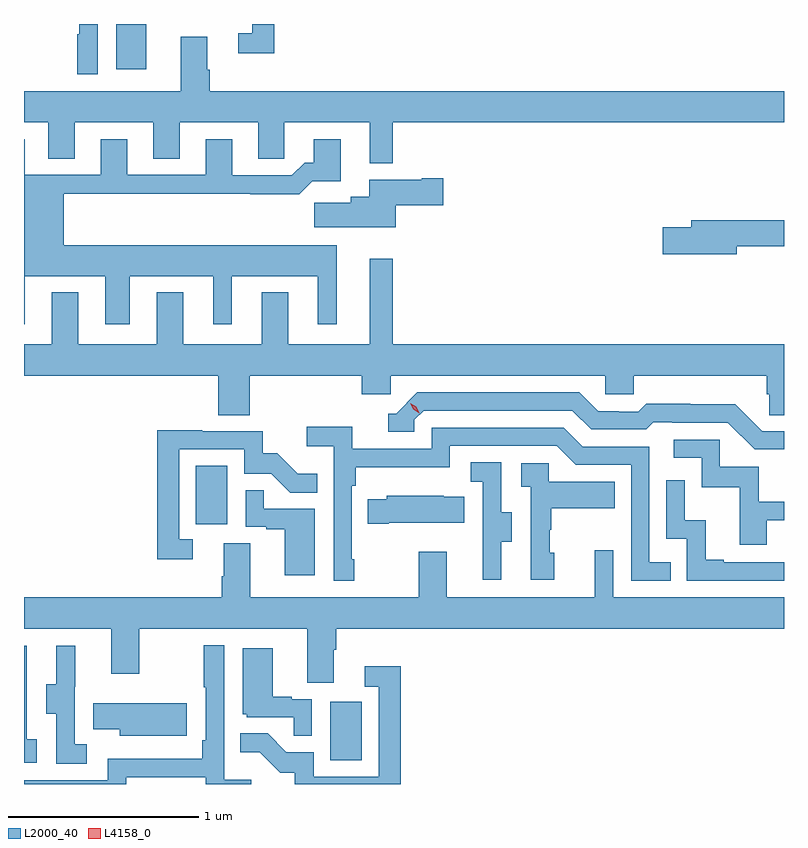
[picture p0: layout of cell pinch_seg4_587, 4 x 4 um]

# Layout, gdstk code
import gdstk
lib = gdstk.Library(unit=1e-6, precision=1e-09)
def R(c, l, rs):  # rectangles x0, y0, x1, y1
    for r in rs: c.add(gdstk.rectangle(r[:2], r[2:], *l))
def P(c, l, *ps):  # polygons
    for p in ps: c.add(gdstk.Polygon(p, *l))
L2000_40 = (2000, 40)
L4158_0 = (4158, 0)

pinch_seg4_587 = lib.new_cell('pinch_seg4_587')
R(pinch_seg4_587, L2000_40, [(1046.702,770.82,1046.866,771.127), (1045.994,772.062,1046.158,772.369), (1045.574,774.456,1045.732,774.694)])
P(pinch_seg4_587, L2000_40, [(1045.476,774.694),(1045.379,774.694),(1045.379,774.641),(1045.368,774.641),(1045.368,774.429),(1045.476,774.429)],
  [(1046.405,774.694),(1046.289,774.694),(1046.289,774.645),(1046.217,774.645),(1046.217,774.54),(1046.405,774.54)],
  [(1047.031,774.176),(1049.089,774.176),(1049.089,774.34),(1046.066,774.34),(1046.066,774.452),(1046.053,774.452),(1046.053,774.626),(1045.913,774.626),(1045.913,774.34),(1045.089,774.34),(1045.089,774.176),(1045.217,774.176),(1045.217,773.986),(1045.357,773.986),(1045.357,774.176),(1045.769,774.176),(1045.769,773.986),(1045.909,773.986),(1045.909,774.176),(1046.321,774.176),(1046.321,773.986),(1046.46,773.986),(1046.46,774.176),(1046.909,774.176),(1046.909,773.96),(1047.031,773.96)],
  [(1045.093,773.366),(1045.517,773.366),(1045.517,773.115),(1045.645,773.115),(1045.645,773.366),(1046.084,773.366),(1046.084,773.115),(1046.182,773.115),(1046.182,773.366),(1046.636,773.366),(1046.636,773.115),(1046.734,773.115),(1046.734,773.53),(1045.297,773.53),(1045.297,773.8),(1046.281,773.8),(1046.281,773.798),(1046.537,773.798),(1046.606,773.867),(1046.755,773.867),(1046.755,774.088),(1046.615,774.088),(1046.615,773.965),(1046.566,773.965),(1046.499,773.898),(1046.185,773.898),(1046.185,774.088),(1046.045,774.088),(1046.045,773.901),(1045.633,773.901),(1045.633,774.088),(1045.493,774.088),(1045.493,773.901),(1045.093,773.901),(1045.093,774.088),(1045.089,774.088),(1045.089,773.115),(1045.093,773.115)],
  [(1047.046,773.741),(1047.295,773.741),(1047.295,773.883),(1047.182,773.883),(1047.182,773.875),(1046.906,773.875),(1046.906,773.785),(1046.81,773.785),(1046.81,773.753),(1046.616,773.753),(1046.616,773.624),(1047.046,773.624)],
  [(1048.84,773.524),(1049.089,773.524),(1049.089,773.66),(1048.601,773.66),(1048.601,773.624),(1048.452,773.624),(1048.452,773.482),(1048.84,773.482)],
  [(1046.276,772.844),(1046.867,772.844),(1046.867,772.746),(1047.018,772.746),(1047.018,772.844),(1048.149,772.844),(1048.149,772.746),(1048.299,772.746),(1048.299,772.844),(1048.997,772.844),(1048.997,772.746),(1049.011,772.746),(1049.011,772.636),(1049.089,772.636),(1049.089,773.008),(1047.031,773.008),(1047.031,773.458),(1046.909,773.458),(1046.909,773.008),(1046.479,773.008),(1046.479,773.281),(1046.339,773.281),(1046.339,773.008),(1045.927,773.008),(1045.927,773.281),(1045.787,773.281),(1045.787,773.008),(1045.375,773.008),(1045.375,773.281),(1045.235,773.281),(1045.235,773.008),(1045.089,773.008),(1045.089,772.844),(1046.111,772.844),(1046.111,772.636),(1046.276,772.636)],
  [(1049.089,772.551),(1048.974,772.551),(1048.832,772.693),(1048.596,772.693),(1048.596,772.696),(1048.363,772.696),(1048.321,772.653),(1048.218,772.653),(1048.218,772.656),(1048.111,772.656),(1048.012,772.755),(1047.159,772.755),(1047.048,772.644),(1047.005,772.644),(1047.005,772.548),(1047.144,772.548),(1047.144,772.611),(1047.192,772.659),(1047.975,772.659),(1048.074,772.56),(1048.363,772.56),(1048.402,772.599),(1048.501,772.599),(1048.501,772.596),(1048.794,772.596),(1048.935,772.455),(1049.089,772.455)],
  [(1046.827,771.877),(1046.814,771.877),(1046.814,772.265),(1046.834,772.265),(1046.834,772.361),(1047.33,772.361),(1047.33,772.473),(1047.894,772.473),(1047.993,772.374),(1048.284,772.374),(1048.284,771.765),(1048.493,771.765),(1048.493,771.861),(1048.38,771.861),(1048.38,772.47),(1048.03,772.47),(1047.931,772.569),(1047.234,772.569),(1047.234,772.458),(1046.816,772.458),(1046.816,772.574),(1046.577,772.574),(1046.577,772.472),(1046.718,772.472),(1046.718,771.765),(1046.827,771.765)],
  [(1045.978,771.981),(1045.905,771.981),(1045.905,772.455),(1046.247,772.455),(1046.247,772.326),(1046.391,772.326),(1046.489,772.228),(1046.633,772.228),(1046.633,772.327),(1046.529,772.327),(1046.422,772.434),(1046.346,772.434),(1046.346,772.551),(1046.027,772.551),(1046.027,772.556),(1045.789,772.556),(1045.789,771.876),(1045.978,771.876)],
  [(1048.999,772.083),(1049.089,772.083),(1049.089,772.179),(1048.957,772.179),(1048.957,772.365),(1048.752,772.365),(1048.752,772.506),(1048.509,772.506),(1048.509,772.41),(1048.656,772.41),(1048.656,772.257),(1048.855,772.257),(1048.855,771.954),(1048.999,771.954)],
  [(1047.601,771.97),(1047.655,771.97),(1047.655,772.125),(1047.6,772.125),(1047.6,772.388),(1047.441,772.388),(1047.441,772.285),(1047.504,772.285),(1047.504,771.981),(1047.503,771.981),(1047.503,771.768),(1047.601,771.768)],
  [(1047.88,771.912),(1047.855,771.912),(1047.855,772.031),(1047.865,772.031),(1047.865,772.145),(1048.199,772.145),(1048.199,772.285),(1047.852,772.285),(1047.852,772.383),(1047.705,772.383),(1047.705,772.259),(1047.756,772.259),(1047.756,771.768),(1047.88,771.768)],
  [(1049.089,771.861),(1048.771,771.861),(1048.771,771.874),(1048.676,771.874),(1048.676,772.082),(1048.566,772.082),(1048.566,772.294),(1048.47,772.294),(1048.47,771.984),(1048.578,771.984),(1048.578,771.765),(1049.089,771.765)],
  [(1046.62,772.143),(1046.351,772.143),(1046.351,772.241),(1046.256,772.241),(1046.256,772.047),(1046.363,772.047),(1046.363,772.035),(1046.462,772.035),(1046.462,771.792),(1046.62,771.792)],
  [(1047.01,772.07),(1047.407,772.07),(1047.407,772.207),(1047.299,772.207),(1047.299,772.21),(1046.997,772.21),(1046.997,772.192),(1046.899,772.192),(1046.899,772.063),(1047.01,772.063)],
  [(1046.719,771.4),(1046.732,771.4),(1046.732,771.512),(1049.089,771.512),(1049.089,771.676),(1048.191,771.676),(1048.191,771.925),(1048.094,771.925),(1048.094,771.676),(1047.313,771.676),(1047.313,771.916),(1047.166,771.916),(1047.166,771.676),(1046.281,771.676),(1046.281,771.962),(1046.141,771.962),(1046.141,771.788),(1046.129,771.788),(1046.129,771.676),(1045.089,771.676),(1045.089,771.512),(1045.547,771.512),(1045.547,771.273),(1045.695,771.273),(1045.695,771.512),(1046.579,771.512),(1046.579,771.226),(1046.719,771.226)],
  [(1045.626,770.73),(1046.045,770.73),(1046.045,770.694),(1046.284,770.694),(1046.284,770.716),(1046.142,770.716),(1046.142,771.424),(1046.034,771.424),(1046.034,771.202),(1046.046,771.202),(1046.046,770.923),(1046.026,770.923),(1046.026,770.826),(1045.53,770.826),(1045.53,770.715),(1045.089,770.715),(1045.089,770.694),(1045.626,770.694)],
  [(1045.42,770.903),(1045.356,770.903),(1045.356,771.207),(1045.358,771.207),(1045.358,771.421),(1045.259,771.421),(1045.259,771.219),(1045.205,771.219),(1045.205,771.064),(1045.26,771.064),(1045.26,770.8),(1045.42,770.8)],
  [(1045.156,770.93),(1045.104,770.93),(1045.104,771.421),(1045.089,771.421),(1045.089,770.805),(1045.156,770.805)],
  [(1046.604,771.141),(1046.498,771.141),(1046.498,771.154),(1046.398,771.154),(1046.398,771.409),(1046.24,771.409),(1046.24,771.06),(1046.262,771.06),(1046.262,771.045),(1046.509,771.045),(1046.509,770.947),(1046.604,770.947)],
  [(1047.071,771.313),(1046.883,771.313),(1046.883,771.207),(1046.955,771.207),(1046.955,770.733),(1046.613,770.733),(1046.613,770.862),(1046.469,770.862),(1046.371,770.96),(1046.227,770.96),(1046.227,770.861),(1046.331,770.861),(1046.438,770.754),(1046.515,770.754),(1046.515,770.694),(1047.071,770.694)],
  [(1045.945,771.118),(1045.453,771.118),(1045.453,770.981),(1045.592,770.981),(1045.592,770.948),(1045.945,770.948)])
P(pinch_seg4_587, L4158_0, [(1047.168,772.646),(1047.138,772.666),(1047.123,772.698),(1047.123,772.699),(1047.123,772.699),(1047.154,772.679),(1047.169,772.646),(1047.169,772.646)])

lib.write_gds('pinch_seg4_587.gds')
